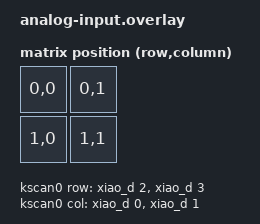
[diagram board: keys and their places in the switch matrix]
#include <dt-bindings/zmk/matrix_transform.h>
#include <zephyr/dt-bindings/input/input-event-codes.h>
#include <input/processors.dtsi>

#include <dt-bindings/zmk/input_transform.h>

/ {
    kscan0: kscan0 {
        compatible = "zmk,kscan-gpio-matrix";
        diode-direction = "col2row";
        wakeup-source;

        col-gpios
            = <&xiao_d 0 GPIO_ACTIVE_HIGH>
            , <&xiao_d 1 GPIO_ACTIVE_HIGH>
            ;

        row-gpios
            = <&xiao_d 2 (GPIO_ACTIVE_HIGH | GPIO_PULL_DOWN)>
            , <&xiao_d 3 (GPIO_ACTIVE_HIGH | GPIO_PULL_DOWN)>
            ;
    };

    default_transform: keymap_transform0 {
        compatible = "zmk,matrix-transform";
        columns = <2>;
        rows = <2>;
        map = <
            RC(0,0) RC(0,1)
            RC(1,0) RC(1,1)
        >;
    };

    chosen {
        zmk,kscan = &kscan0;
        zmk,matrix_transform = &default_transform;
    };
};


#include <zephyr/dt-bindings/input/input-event-codes.h>
/* Reference: https://docs.zephyrproject.org/apidoc/latest/group__input__events.html */

&adc {
	status = "okay";
};

/ {
	ain0: analog_input_0 {
		compatible = "zmk,analog-input";
		sampling-hz = <100>;
		y-ch {
			io-channels = <&adc 2>;     // <--- &adc 2: P0.04 (XIAO #5 D4)
			mv-mid = <1950>;
			mv-min-max = <1600>;
			mv-deadzone = <200>;
			scale-multiplier = <1>;
			scale-divisor = <200>;
			invert;
			evt-type = <INPUT_EV_REL>;
			input-code = <INPUT_REL_Y>;
		};
		x-ch {
			io-channels = <&adc 3>;     // <--- &adc 3: P0.05 (XIAO #6 D5)
			mv-mid = <1950>;
			mv-min-max = <1600>;
			mv-deadzone = <200>;
			scale-multiplier = <1>;
			scale-divisor = <200>;
			invert;
			evt-type = <INPUT_EV_REL>;
			input-code = <INPUT_REL_X>;

			/* enable report mdoe for gamepad axix or knob */
			/* to only call input_report on quantquantized value is updated */
			/* NOTE: mouse input does NOT need this */
			// report-on-change-only;

		};
	};

    analog_input_listener {
        status = "okay";
        compatible = "zmk,input-listener";
        device = <&ain0>;
        // input-processors = <&zip_xy_to_scroll_mapper>;                    // acts as a scroll wheel
        input-processors = <&zip_xy_transform INPUT_TRANSFORM_Y_INVERT>;  // acts as mouse
    };
};
